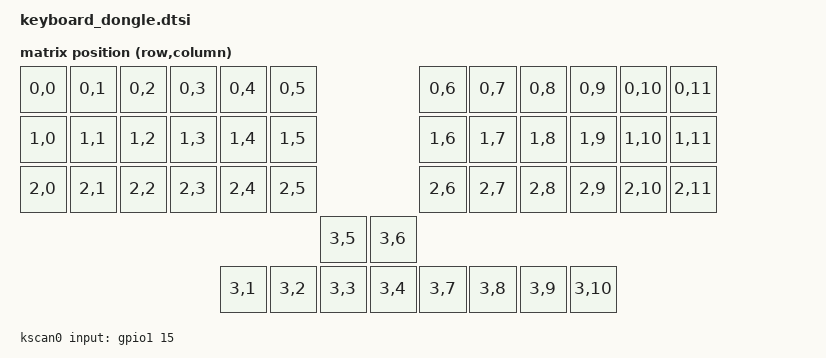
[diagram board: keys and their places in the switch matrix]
/* DTSI for keyboard_dongle - must match hillside_view matrix */

#include <dt-bindings/zmk/matrix_transform.h>

/ {
    chosen {
        zmk,kscan = &kscan0;
        zmk,matrix_transform = &dongle_transform;
    };

    /* Dummy kscan - dongle has no physical keys, receives input via split */
    kscan0: kscan {
        compatible = "zmk,kscan-gpio-direct";
        input-gpios = <&gpio1 15 (GPIO_ACTIVE_LOW | GPIO_PULL_UP)>;
    };

    /* Matrix transform must match hillside_view (12 cols, 4 rows) */
    dongle_transform: keymap_transform_0 {
        compatible = "zmk,matrix-transform";
        columns = <12>;
        rows = <4>;
        map = <
RC(0,0) RC(0,1) RC(0,2) RC(0,3) RC(0,4) RC(0,5)                                       RC(0,6) RC(0,7) RC(0,8) RC(0,9) RC(0,10) RC(0,11)
RC(1,0) RC(1,1) RC(1,2) RC(1,3) RC(1,4) RC(1,5)                                       RC(1,6) RC(1,7) RC(1,8) RC(1,9) RC(1,10) RC(1,11)
RC(2,0) RC(2,1) RC(2,2) RC(2,3) RC(2,4) RC(2,5)                                       RC(2,6) RC(2,7) RC(2,8) RC(2,9) RC(2,10) RC(2,11)
                                                RC(3,5)                       RC(3,6)
                                RC(3,1) RC(3,2) RC(3,3) RC(3,4)       RC(3,7) RC(3,8) RC(3,9) RC(3,10)
        >;
    };
};
